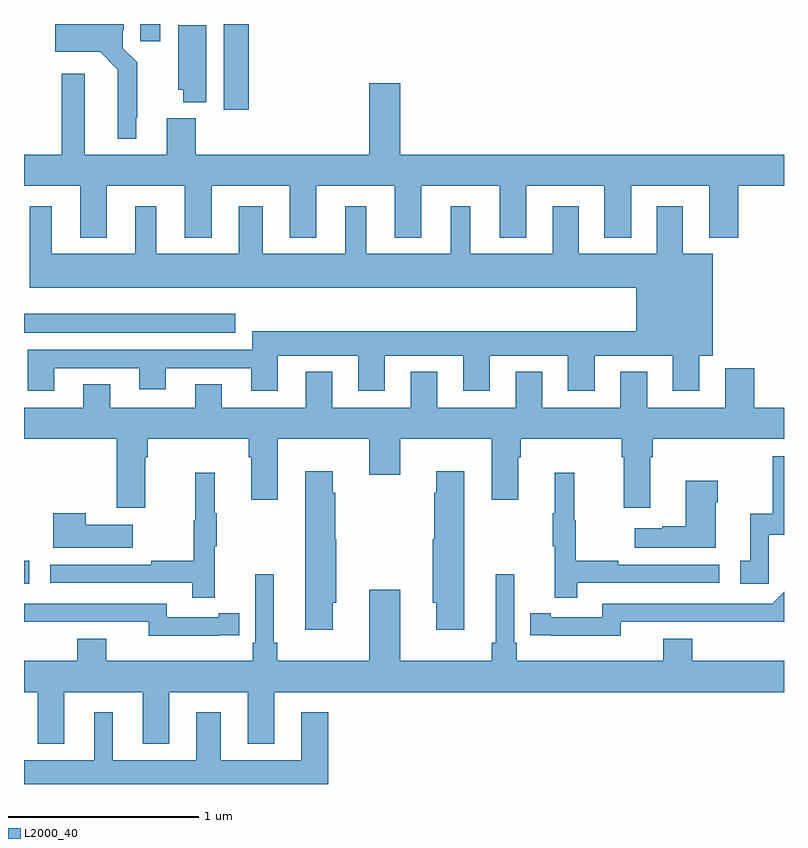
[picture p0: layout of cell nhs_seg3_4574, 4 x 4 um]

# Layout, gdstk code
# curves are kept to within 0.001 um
import gdstk
lib = gdstk.Library(unit=1e-6, precision=1e-09)
def R(c, l, rs):  # rectangles x0, y0, x1, y1
    for r in rs: c.add(gdstk.rectangle(r[:2], r[2:], *l))
def P(c, l, *ps):  # polygons
    for p in ps: c.add(gdstk.Polygon(p, *l))
L2000_40 = (2000, 40)

nhs_seg3_4574 = lib.new_cell('nhs_seg3_4574')
R(nhs_seg3_4574, L2000_40, [(355,733.455,355.027,733.575), (355,734.774,356.113,734.875), (356.051,735.948,356.183,736.4), (355.613,736.308,355.717,736.4)])
P(nhs_seg3_4574, L2000_40, [(355.591,735.907),(355.595,735.907),(355.595,736.198),(355.521,736.272),(355.521,736.366),(355.525,736.366),(355.525,736.4),(355.164,736.4),(355.164,736.253),(355.401,736.253),(355.494,736.16),(355.493,735.797),(355.591,735.797)],
  [(355.96,736.394),(355.811,736.394),(355.811,736.053),(355.838,736.053),(355.838,735.989),(355.96,735.989)],
  [(355.435,735.548),(355.847,735.548),(355.847,735.275),(355.987,735.275),(355.987,735.548),(356.399,735.548),(356.399,735.275),(356.539,735.275),(356.539,735.548),(356.951,735.548),(356.951,735.275),(357.091,735.275),(357.091,735.548),(357.503,735.548),(357.503,735.275),(357.643,735.275),(357.643,735.548),(358.055,735.548),(358.055,735.275),(358.195,735.275),(358.195,735.548),(358.607,735.548),(358.607,735.275),(358.76,735.275),(358.76,735.548),(359,735.548),(359,735.712),(356.98,735.712),(356.98,736.087),(356.816,736.087),(356.816,735.712),(355.904,735.712),(355.904,735.904),(355.751,735.904),(355.751,735.712),(355.321,735.712),(355.321,736.138),(355.199,736.138),(355.199,735.712),(355,735.712),(355,735.548),(355.295,735.548),(355.295,735.275),(355.435,735.275)],
  [(355.159,734.589),(355.607,734.589),(355.607,734.477),(355.747,734.477),(355.747,734.589),(356.195,734.589),(356.195,734.469),(356.335,734.469),(356.335,734.654),(356.759,734.654),(356.759,734.469),(356.899,734.469),(356.899,734.654),(357.311,734.654),(357.311,734.469),(357.451,734.469),(357.451,734.654),(357.863,734.654),(357.863,734.469),(358.003,734.469),(358.003,734.654),(358.415,734.654),(358.415,734.469),(358.555,734.469),(358.555,734.654),(358.624,734.654),(358.624,735.19),(358.468,735.19),(358.468,735.442),(358.331,735.442),(358.331,735.19),(357.919,735.19),(357.919,735.442),(357.782,735.442),(357.782,735.19),(357.349,735.19),(357.349,735.442),(357.245,735.442),(357.245,735.19),(356.8,735.19),(356.8,735.442),(356.69,735.442),(356.69,735.19),(356.257,735.19),(356.257,735.442),(356.129,735.442),(356.129,735.19),(355.696,735.19),(355.696,735.442),(355.586,735.442),(355.586,735.19),(355.147,735.19),(355.147,735.442),(355.031,735.442),(355.031,735.011),(358.223,735.011),(358.223,734.782),(356.201,734.782),(356.201,734.685),(355.019,734.685),(355.019,734.469),(355.159,734.469)],
  [(355.313,734.504),(355.313,734.38),(355,734.38),(355,734.216),(355.487,734.216),(355.487,733.854),(355.639,733.854),(355.639,734.12),(355.652,734.12),(355.652,734.216),(356.183,734.216),(356.183,734.12),(356.195,734.12),(356.195,733.896),(356.335,733.896),(356.335,734.216),(356.816,734.216),(356.816,734.028),(356.98,734.028),(356.98,734.216),(357.461,734.216),(357.461,733.896),(357.601,733.896),(357.601,734.12),(357.614,734.12),(357.614,734.216),(358.145,734.216),(358.145,734.12),(358.157,734.12),(358.157,733.854),(358.297,733.854),(358.297,734.12),(358.31,734.12),(358.31,734.216),(359,734.216),(359,734.38),(358.844,734.38),(358.844,734.587),(358.691,734.587),(358.691,734.38),(358.279,734.38),(358.279,734.569),(358.139,734.569),(358.139,734.38),(357.727,734.38),(357.727,734.569),(357.587,734.569),(357.587,734.38),(357.175,734.38),(357.175,734.569),(357.035,734.569),(357.035,734.38),(356.623,734.38),(356.623,734.569),(356.483,734.569),(356.483,734.38),(356.041,734.38),(356.041,734.504),(355.901,734.504),(355.901,734.38),(355.453,734.38),(355.453,734.504)],
  [(358.92,733.713),(359,733.713),(359,734.124),(358.941,734.124),(358.941,733.822),(358.823,733.822),(358.823,733.575),(358.77,733.575),(358.77,733.455),(358.92,733.455)],
  [(357.316,734.047),(357.17,734.047),(357.17,733.934),(357.158,733.934),(357.158,733.689),(357.152,733.689),(357.152,733.353),(357.17,733.353),(357.17,733.212),(357.316,733.212)],
  [(356.626,733.353),(356.644,733.353),(356.644,733.689),(356.639,733.689),(356.639,733.934),(356.626,733.934),(356.626,734.047),(356.48,734.047),(356.48,733.212),(356.626,733.212)],
  [(356.003,733.651),(356.014,733.651),(356.014,733.825),(356.003,733.825),(356.003,734.038),(355.9,734.038),(355.9,733.788),(355.893,733.788),(355.893,733.574),(355.669,733.574),(355.669,733.554),(355.137,733.554),(355.137,733.458),(355.885,733.458),(355.885,733.38),(356.003,733.38)],
  [(357.911,733.458),(358.66,733.458),(358.66,733.554),(358.127,733.554),(358.127,733.574),(357.904,733.574),(357.904,733.788),(357.896,733.788),(357.896,734.038),(357.794,734.038),(357.794,733.825),(357.783,733.825),(357.783,733.651),(357.794,733.651),(357.794,733.38),(357.911,733.38)],
  [(358.642,733.883),(358.65,733.883),(358.65,733.996),(358.484,733.996),(358.484,733.757),(358.358,733.757),(358.358,733.747),(358.215,733.747),(358.215,733.643),(358.642,733.643)],
  [(355.573,733.765),(355.325,733.765),(355.325,733.825),(355.154,733.825),(355.154,733.643),(355.573,733.643)],
  [(355.213,732.884),(355.625,732.884),(355.625,732.611),(355.765,732.611),(355.765,732.884),(356.177,732.884),(356.177,732.611),(356.317,732.611),(356.317,732.884),(359,732.884),(359,733.048),(358.517,733.048),(358.517,733.165),(358.364,733.165),(358.364,733.048),(357.593,733.048),(357.593,733.144),(357.579,733.144),(357.579,733.504),(357.482,733.504),(357.482,733.144),(357.463,733.144),(357.463,733.048),(356.98,733.048),(356.98,733.423),(356.816,733.423),(356.816,733.048),(356.333,733.048),(356.333,733.144),(356.314,733.144),(356.314,733.504),(356.217,733.504),(356.217,733.144),(356.204,733.144),(356.204,733.048),(355.432,733.048),(355.432,733.165),(355.28,733.165),(355.28,733.048),(355,733.048),(355,732.884),(355.073,732.884),(355.073,732.611),(355.213,732.611)],
  [(358.14,733.254),(359,733.253),(359,733.412),(358.938,733.35),(358.044,733.35),(358.044,733.278),(357.772,733.278),(357.772,733.298),(357.664,733.298),(357.664,733.182),(358.14,733.181)],
  [(356.024,733.182),(356.132,733.182),(356.132,733.298),(356.024,733.298),(356.024,733.278),(355.752,733.278),(355.752,733.35),(355,733.35),(355,733.253),(355.196,733.253),(355.196,733.254),(355.656,733.254),(355.656,733.181),(356.024,733.181)],
  [(356.6,732.778),(356.459,732.778),(356.459,732.526),(356.035,732.526),(356.035,732.778),(355.907,732.778),(355.907,732.526),(355.468,732.526),(355.468,732.778),(355.37,732.778),(355.37,732.526),(355,732.526),(355,732.4),(356.6,732.4)])

lib.write_gds('nhs_seg3_4574.gds')
